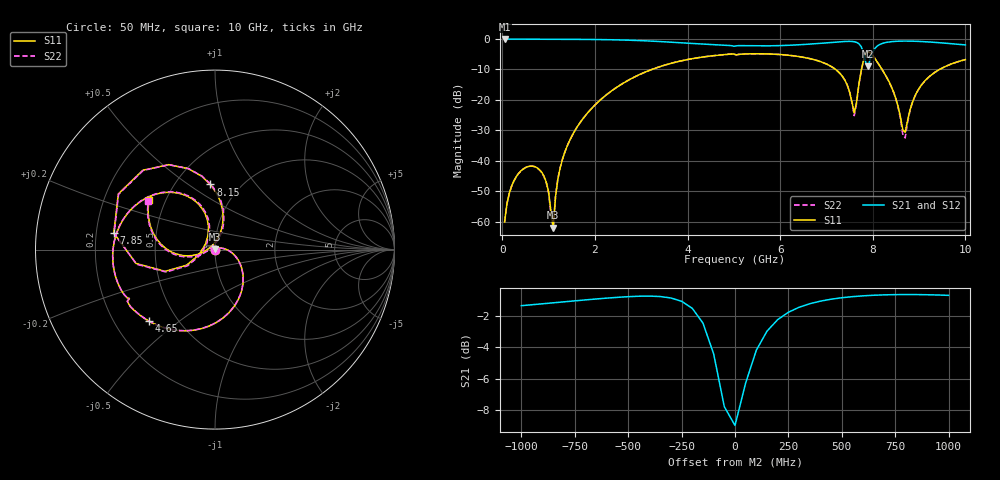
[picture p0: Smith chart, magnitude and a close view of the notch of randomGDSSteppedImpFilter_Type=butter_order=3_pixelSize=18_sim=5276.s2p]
! freq	dB(S11)	phase(S11)	dB(S12)	phase(S12)
!  dB(S21)	phase(S21)	dB(S22)	phase(S22)
!S-par simulation data
#  GHz  S  DB  R 50
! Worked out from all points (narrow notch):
!   200 points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, 50 MHz to 10 GHz, reference 50 ohm
!   highest |S21| = -0.01 dB at 50 MHz (marker M1); lowest = -9.0 dB at 7.9 GHz (marker M2)
!   notch at M2: 8.0 dB deep, 172 MHz wide at half that depth
!   lowest |S11| = -62.0 dB at 1.1 GHz (marker M3), VSWR 1.00, Z = 50 + j0.0784 ohm
!   |S11| at or under -10 dB: start of sweep to 3.227 GHz; 7.198 GHz to 7.756 GHz (557.4 MHz wide, 7.45 % of centre); 8.201 GHz to 9.44 GHz (1.239 GHz wide, 14 % of centre)
!   |S22| runs from -62.0 to -4.2 dB; largest |S21 - S12| = 0
!   S11 on the Smith chart (normalised r, x): 50 MHz: 1.00, -0.00; 4.65 GHz: 0.35, -0.39; 7.85 GHz: 0.27, +0.08; 8.15 GHz: 0.73, +0.61; 10 GHz: 0.41, +0.29
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0.05  -60.09 -87.8  -0.01 -2.5  -0.01 -2.5  -60.18 -87.6
0.25  -46.62 -100.9  -0.03 -12.0  -0.03 -12.0  -46.67 -100.4
0.65  -41.78 -120.1  -0.04 -31.1  -0.04 -31.1  -41.79 -119.7
0.95  -47.04 -136.1  -0.05 -45.4  -0.05 -45.4  -47.29 -134.5
1.1  -61.99 99.6  -0.06 -52.6  -0.06 -52.6  -61.98 95.7
1.15  -51.79 42.8  -0.06 -55.0  -0.06 -55.0  -51.44 36.1
1.3  -39.48 30.5  -0.07 -62.2  -0.07 -62.2  -39.44 28.5
1.75  -26.00 6.6  -0.11 -84.0  -0.11 -84.0  -26.00 6.0
3.4  -9.07 -75.6  -0.81 -165.4  -0.81 -165.4  -9.08 -75.8
4.65  -5.32 -132.5  -1.91 137.2  -1.91 137.2  -5.32 -132.8
5.05  -5.20 -150.2  -2.23 121.6  -2.23 121.6  -5.20 -150.4
6.7  -6.64 140.1  -1.59 48.6  -1.59 48.6  -6.64 139.6
7.35  -12.38 107.5  -0.84 11.8  -0.84 11.8  -12.40 106.1
7.6  -24.26 149.3  -0.88 -9.8  -0.88 -9.8  -25.19 147.1
7.85  -4.86 170.7  -7.78 -33.8  -7.78 -33.8  -4.90 171.0
7.9  -4.13 150.0  -8.98 -5.6  -8.98 -5.6  -4.16 150.2
8.15  -8.77 94.0  -1.78 -7.5  -1.78 -7.5  -8.80 93.4
8.35  -13.99 77.1  -0.95 -24.3  -0.95 -24.3  -14.04 75.5
8.7  -30.62 153.6  -0.66 -48.8  -0.66 -48.8  -32.49 159.7
8.85  -21.01 -165.2  -0.69 -58.4  -0.69 -58.4  -21.17 -160.9
9.05  -15.12 -168.9  -0.81 -70.7  -0.81 -70.7  -15.16 -166.7
10  -6.75 142.9  -1.92 -123.7  -1.92 -123.7  -6.75 143.8
